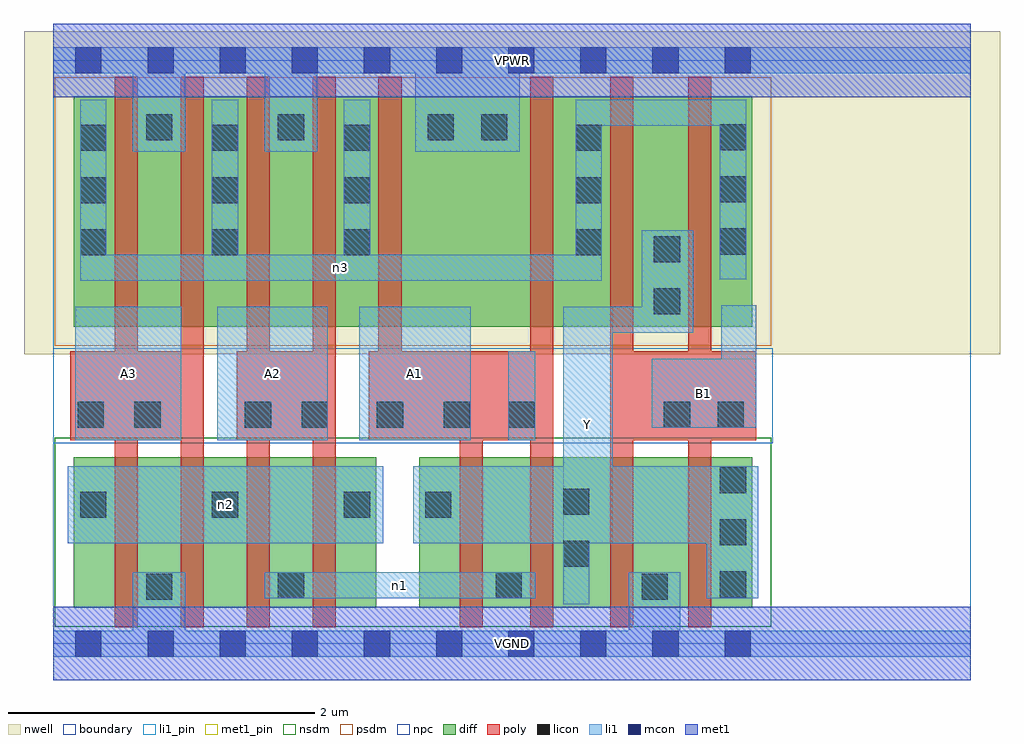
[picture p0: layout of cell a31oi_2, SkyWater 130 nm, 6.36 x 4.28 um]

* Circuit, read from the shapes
.subckt a31oi_2 A1 A2 A3 B1 VGND VPWR Y n1 n2 n3
XM1 VGND A3 n2 VSUBS sky130_fd_pr__nfet_01v8 w=0.98 l=0.15 m=2
XM2 n1 A2 n2 VSUBS sky130_fd_pr__nfet_01v8 w=0.98 l=0.15 m=2
XM3 n1 A1 Y VSUBS sky130_fd_pr__nfet_01v8 w=0.98 l=0.15 m=2
XM4 VGND B1 Y VSUBS sky130_fd_pr__nfet_01v8 w=0.98 l=0.15 m=2
XM5 VPWR A3 n3 n4 sky130_fd_pr__pfet_01v8 w=1.5 l=0.15 m=2
XM6 VPWR A2 n3 n4 sky130_fd_pr__pfet_01v8 w=1.5 l=0.15 m=2
XM7 VPWR A1 n3 n4 sky130_fd_pr__pfet_01v8 w=1.5 l=0.15 m=2
XM8 Y B1 n3 n4 sky130_fd_pr__pfet_01v8 w=1.5 l=0.15 m=2
.ends

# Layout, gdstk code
import gdstk
lib = gdstk.Library(unit=1e-6, precision=1e-09)
def R(c, l, rs):  # rectangles x0, y0, x1, y1
    for r in rs: c.add(gdstk.rectangle(r[:2], r[2:], *l))
def A(c, l, x, y, w, h, nx, ny, dx, dy):  # array of equal rectangles
    R(c, l, [(x+i*dx, y+j*dy, x+i*dx+w, y+j*dy+h) for i in range(nx) for j in range(ny)])
nwell = (64, 20)
diff = (65, 20)
poly = (66, 20)
licon = (66, 44)
li1_pin = (67, 16)
li1 = (67, 20)
mcon = (67, 44)
met1_pin = (68, 16)
met1 = (68, 20)
nsdm = (93, 44)
psdm = (94, 20)
npc = (95, 20)
boundary = (235, 4)

a31oi_2 = lib.new_cell('a31oi_2')
R(a31oi_2, nwell, [(-0.19,1.885,6.17,3.99), (0,1.885,5.98,3.99)])
R(a31oi_2, diff, [(0.135,0.235,2.105,1.215), (2.385,0.235,4.555,1.215), (0.135,2.065,4.555,3.565)])
A(a31oi_2, poly, 0.4, 0.105, 0.15, 3.59, 4, 1, 0.43, 0)
R(a31oi_2, poly, [(2.65,0.105,2.8,1.905), (3.11,0.105,3.26,3.695), (3.63,0.105,3.78,3.695), (4.14,0.105,4.29,3.695), (0.11,1.325,0.98,1.905), (1.195,1.325,1.84,1.905), (2.055,1.325,3.26,1.905), (2.12,1.325,2.27,3.695), (3.63,1.325,4.58,1.905)])
A(a31oi_2, licon, 4.345, 0.3, 0.17, 0.17, 1, 3, 0, 0.34)
A(a31oi_2, licon, 0.175, 0.82, 0.17, 0.17, 3, 2, 0.86, 1.71)
A(a31oi_2, licon, 3.405, 2.53, 0.17, 0.17, 1, 3, 0, 0.34)
A(a31oi_2, licon, 4.345, 2.535, 0.17, 0.17, 1, 3, 0, 0.34)
A(a31oi_2, licon, 0.175, 2.87, 0.17, 0.17, 3, 2, 0.86, 0.34)
R(a31oi_2, licon, [(0.605,0.285,0.775,0.455), (3.835,0.285,4.005,0.455), (1.465,0.295,1.635,0.465), (2.885,0.295,3.055,0.465), (3.325,0.5,3.495,0.67), (2.425,0.82,2.595,0.99), (3.325,0.84,3.495,1.01), (0.16,1.405,0.33,1.575), (0.53,1.405,0.7,1.575), (1.25,1.405,1.42,1.575), (1.62,1.405,1.79,1.575), (2.11,1.405,2.28,1.575), (2.545,1.405,2.715,1.575), (2.965,1.405,3.135,1.575), (3.98,1.405,4.15,1.575), (4.33,1.405,4.5,1.575), (3.915,2.145,4.085,2.315), (3.915,2.485,4.085,2.655), (0.605,3.28,0.775,3.45), (1.465,3.28,1.635,3.45), (2.44,3.28,2.61,3.45), (2.79,3.28,2.96,3.45)])
R(a31oi_2, li1_pin, [(3.325,0.655,3.645,2.195), (0.145,1.325,0.835,2.195), (1.07,1.325,1.79,2.195), (1.995,1.325,2.72,2.195), (3.9,1.405,4.58,1.855)])
A(a31oi_2, li1, 0.175, 2.365, 0.17, 1.18, 3, 1, 0.86, 0)
R(a31oi_2, li1, [(0,-0.085,5.98,0.085), (0.52,-0.085,0.86,0.465), (3.75,-0.085,4.085,0.465), (3.325,0.255,3.495,2.195), (1.38,0.295,3.14,0.465), (4.26,0.295,4.595,1.155), (0.095,0.655,2.15,1.155), (2.345,0.655,4.595,1.155), (3.325,0.655,3.645,2.195), (0.145,1.325,0.835,2.195), (1.07,1.325,1.79,2.195), (1.995,1.325,2.72,2.195), (2.965,1.325,3.14,1.905), (3.9,1.405,4.58,1.855), (4.355,1.405,4.58,2.205), (3.325,2.025,4.17,2.195), (3.835,2.025,4.17,2.695), (0.175,2.365,3.575,2.535), (3.405,2.365,3.575,3.545), (4.345,2.375,4.515,3.545), (0.52,3.205,0.86,3.885), (1.38,3.205,1.72,3.885), (2.36,3.205,3.04,3.885), (3.405,3.375,4.515,3.545), (0,3.715,5.98,3.885)])
A(a31oi_2, mcon, 0.145, -0.085, 0.17, 0.17, 10, 2, 0.47, 3.8)
R(a31oi_2, met1_pin, [(0,-0.24,5.98,0.24), (0,3.56,5.98,4.04)])
R(a31oi_2, met1, [(0,-0.24,5.98,0.24), (0,3.56,5.98,4.04)])
R(a31oi_2, nsdm, [(0.01,0.11,4.68,1.34)])
R(a31oi_2, psdm, [(0.01,1.94,4.68,3.69)])
R(a31oi_2, npc, [(0,1.305,4.69,1.925)])
R(a31oi_2, boundary, [(0,0,5.98,3.8)])
a31oi_2.add(gdstk.Label('A1', (2.357,1.76), layer=67, texttype=5))
a31oi_2.add(gdstk.Label('A2', (1.43,1.76), layer=67, texttype=5))
a31oi_2.add(gdstk.Label('A3', (0.49,1.76), layer=67, texttype=5))
a31oi_2.add(gdstk.Label('B1', (4.24,1.63), layer=67, texttype=5))
a31oi_2.add(gdstk.Label('Y', (3.485,1.425), layer=67, texttype=5))
a31oi_2.add(gdstk.Label('n1', (2.26,0.38), layer=67, texttype=5))
a31oi_2.add(gdstk.Label('n2', (1.122,0.905), layer=67, texttype=5))
a31oi_2.add(gdstk.Label('n3', (1.875,2.45), layer=67, texttype=5))
a31oi_2.add(gdstk.Label('VPWR', (2.99,3.8), layer=68, texttype=5))
a31oi_2.add(gdstk.Label('VGND', (2.99,0), layer=68, texttype=5))
a31oi_2.add(gdstk.Label('A1', (2.357,1.76), layer=67, texttype=16))
a31oi_2.add(gdstk.Label('A2', (1.43,1.76), layer=67, texttype=16))
a31oi_2.add(gdstk.Label('A3', (0.49,1.76), layer=67, texttype=16))
a31oi_2.add(gdstk.Label('B1', (4.24,1.63), layer=67, texttype=16))
a31oi_2.add(gdstk.Label('Y', (3.485,1.425), layer=67, texttype=16))
a31oi_2.add(gdstk.Label('VPWR', (2.99,3.8), layer=68, texttype=16))
a31oi_2.add(gdstk.Label('VGND', (2.99,0), layer=68, texttype=16))

lib.write_gds('a31oi_2.gds')
